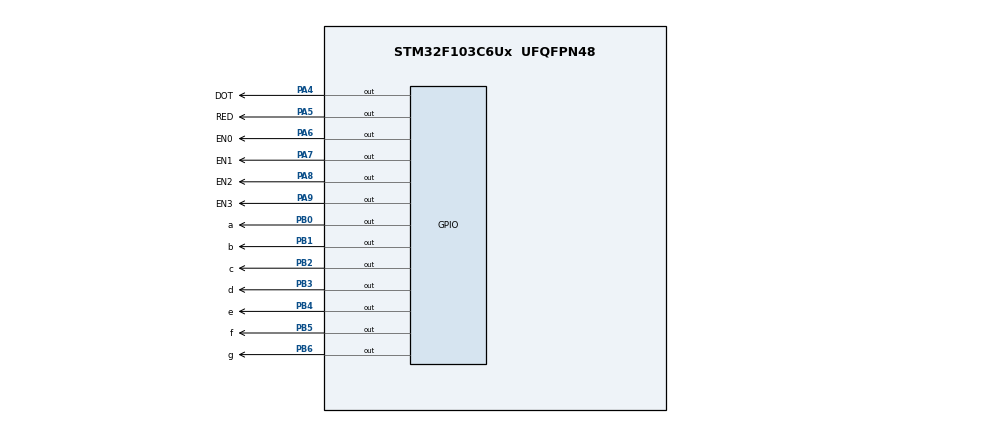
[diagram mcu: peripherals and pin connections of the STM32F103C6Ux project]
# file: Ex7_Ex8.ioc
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Mcu.Family=STM32F1
Mcu.Name=STM32F103C6Ux
Mcu.Package=UFQFPN48
NVIC.PriorityGroup=NVIC_PRIORITYGROUP_4
NVIC.TIM2_IRQn=true\:0\:0\:false\:false\:true\:true\:true
PA4.GPIO_Label=DOT
PA4.Signal=GPIO_Output
PA5.GPIO_Label=RED
PA5.Signal=GPIO_Output
PA6.GPIO_Label=EN0
PA6.Signal=GPIO_Output
PA7.GPIO_Label=EN1
PA7.Signal=GPIO_Output
PA8.GPIO_Label=EN2
PA8.Signal=GPIO_Output
PA9.GPIO_Label=EN3
PA9.Signal=GPIO_Output
PB0.GPIO_Label=a
PB0.Signal=GPIO_Output
PB1.GPIO_Label=b
PB1.Signal=GPIO_Output
PB2.GPIO_Label=c
PB2.Signal=GPIO_Output
PB3.GPIO_Label=d
PB3.Signal=GPIO_Output
PB4.GPIO_Label=e
PB4.Signal=GPIO_Output
PB5.GPIO_Label=f
PB5.Signal=GPIO_Output
PB6.GPIO_Label=g
PB6.Signal=GPIO_Output
ProjectManager.HeapSize=0x200
ProjectManager.StackSize=0x400
ProjectManager.TargetToolchain=STM32CubeIDE
RCC.APB1Freq_Value=8000000
RCC.APB2Freq_Value=8000000
TIM2.Period=9
TIM2.Prescaler=7999
VP_SYS_VS_ND.Mode=No_Debug
VP_TIM2_VS_ClockSourceINT.Mode=Internal
board=custom

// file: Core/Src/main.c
/* USER CODE BEGIN Header */
/**
  ******************************************************************************
  * @file           : main.c
  * @brief          : Main program body
  ******************************************************************************
  * @attention
  *
  * <h2><center>&copy; Copyright (c) 2023 STMicroelectronics.
  * All rights reserved.</center></h2>
  *
  * This software component is licensed by ST under BSD 3-Clause license,
  * the "License"; You may not use this file except in compliance with the
  * License. You may obtain a copy of the License at:
  *                        opensource.org/licenses/BSD-3-Clause
  *
  ******************************************************************************
  */
/* USER CODE END Header */
#include "main.h"

/* USER CODE BEGIN Includes */
#include "timer.h"
/* USER CODE END Includes */

TIM_HandleTypeDef htim2;

/* USER CODE BEGIN PV */
int hour = 15, minute = 8, second = 50;
/* USER CODE END PV */

void SystemClock_Config(void);
static void MX_GPIO_Init(void);
static void MX_TIM2_Init(void);

/* USER CODE BEGIN 0 */
void display7SEG(int num){
	int a=0, b=0, c=0, d=0, e=0, f=0, g=0;
	switch(num){
	case 0:
		a = 0; b = 0; c = 0; d = 0; e = 0; f = 0; g = 1;
		break;
	case 1:
		a = 1; b = 0; c = 0; d = 1; e = 1; f = 1; g = 1;
		break;
	case 2:
		a = 0; b = 0; c = 1; d = 0; e = 0; f = 1; g = 0;
		break;
	case 3:
		a = 0; b = 0; c = 0; d = 0; e = 1; f = 1; g = 0;
		break;
	case 4:
		a = 1; b = 0; c = 0; d = 1; e = 1; f = 0; g = 0;
		break;
	case 5:
		a = 0; b = 1; c = 0; d = 0; e = 1; f = 0; g = 0;
		break;
	case 6:
		a = 0; b = 1; c = 0; d = 0; e = 0; f = 0; g = 0;
		break;
	case 7:
		a = 0; b = 0; c = 0; d = 1; e = 1; f = 1; g = 1;
		break;
	case 8:
		a = 0; b = 0; c = 0; d = 0; e = 0; f = 0; g = 0;
		break;
	case 9:
		a = 0; b = 0; c = 0; d = 0; e = 1; f = 0; g = 0;
		break;
	default:
		a = 1; b = 1; c = 1; d = 1; e = 1; f = 1; g = 0;
		break;
	}
	HAL_GPIO_WritePin(a_GPIO_Port, a_Pin, a);
	HAL_GPIO_WritePin(b_GPIO_Port, b_Pin, b);
	HAL_GPIO_WritePin(c_GPIO_Port, c_Pin, c);
	HAL_GPIO_WritePin(d_GPIO_Port, d_Pin, d);
	HAL_GPIO_WritePin(e_GPIO_Port, e_Pin, e);
	HAL_GPIO_WritePin(f_GPIO_Port, f_Pin, f);
	HAL_GPIO_WritePin(g_GPIO_Port, g_Pin, g);
}
int index_led = 0;
int led_buffer[4];
void updateClockBuffer(){
	led_buffer[0] = hour/10;
	led_buffer[1] = hour%10;
	led_buffer[2] = minute/10;
	led_buffer[3] = minute%10;
}
void update7SEG(int index){
    switch (index){
	case 0:
		HAL_GPIO_WritePin(EN0_GPIO_Port, EN0_Pin, 0);
		HAL_GPIO_WritePin(EN1_GPIO_Port, EN1_Pin, 1);
		HAL_GPIO_WritePin(EN2_GPIO_Port, EN2_Pin, 1);
		HAL_GPIO_WritePin(EN3_GPIO_Port, EN3_Pin, 1);
		display7SEG(led_buffer[0]);
		break;
	case 1:
		HAL_GPIO_WritePin(EN0_GPIO_Port, EN0_Pin, 1);
		HAL_GPIO_WritePin(EN1_GPIO_Port, EN1_Pin, 0);
		HAL_GPIO_WritePin(EN2_GPIO_Port, EN2_Pin, 1);
		HAL_GPIO_WritePin(EN3_GPIO_Port, EN3_Pin, 1);
		display7SEG(led_buffer[1]);
		break;
	case 2:
		HAL_GPIO_WritePin(EN0_GPIO_Port, EN0_Pin, 1);
		HAL_GPIO_WritePin(EN1_GPIO_Port, EN1_Pin, 1);
		HAL_GPIO_WritePin(EN2_GPIO_Port, EN2_Pin, 0);
		HAL_GPIO_WritePin(EN3_GPIO_Port, EN3_Pin, 1);
		display7SEG(led_buffer[2]);
		break;
	case 3:
		HAL_GPIO_WritePin(EN0_GPIO_Port, EN0_Pin, 1);
		HAL_GPIO_WritePin(EN1_GPIO_Port, EN1_Pin, 1);
		HAL_GPIO_WritePin(EN2_GPIO_Port, EN2_Pin, 1);
		HAL_GPIO_WritePin(EN3_GPIO_Port, EN3_Pin, 0);
		display7SEG(led_buffer[3]);
		break;
	default:
		break;
    }
}
/* USER CODE END 0 */

int main(void)
{

  /* MCU Configuration--------------------------------------------------------*/

  /* Reset of all peripherals, Initializes the Flash interface and the Systick. */
  HAL_Init();

  /* Configure the system clock */
  SystemClock_Config();

  /* Initialize all configured peripherals */
  MX_GPIO_Init();
  MX_TIM2_Init();
  /* USER CODE BEGIN 2 */
  HAL_TIM_Base_Start_IT(&htim2);
  /* USER CODE END 2 */

  /* Infinite loop */
  /* USER CODE BEGIN WHILE */
   HAL_GPIO_WritePin(RED_GPIO_Port, RED_Pin, 1);
   HAL_GPIO_WritePin(DOT_GPIO_Port, DOT_Pin, 1);
   setTimer1(100);
   setTimer2(50);
  while (1)
  {
	  if(timer1_flag==1){
		  HAL_GPIO_TogglePin(RED_GPIO_Port, RED_Pin);
		  HAL_GPIO_TogglePin(DOT_GPIO_Port, DOT_Pin);
		  second++;
		  if(second>=60){
			  second=0;
			  minute++;
		  }
		  if(minute>=60){
			  minute=0;
			  hour++;
		  }
		  if(hour>=24){
			  hour=0;
		  }
		  setTimer1(100);
	  }
	  if(timer2_flag==1){
		  update7SEG(index_led++);
		  if(index_led>=4) index_led=0;
		  setTimer2(50);
	  }
	  updateClockBuffer();
    /* USER CODE END WHILE */

  }
}

void SystemClock_Config(void)
{
  RCC_OscInitTypeDef RCC_OscInitStruct = {0};
  RCC_ClkInitTypeDef RCC_ClkInitStruct = {0};

  /** Initializes the RCC Oscillators according to the specified parameters
  * in the RCC_OscInitTypeDef structure.
  */
  RCC_OscInitStruct.OscillatorType = RCC_OSCILLATORTYPE_HSI;
  RCC_OscInitStruct.HSIState = RCC_HSI_ON;
  RCC_OscInitStruct.HSICalibrationValue = RCC_HSICALIBRATION_DEFAULT;
  RCC_OscInitStruct.PLL.PLLState = RCC_PLL_NONE;
  if (HAL_RCC_OscConfig(&RCC_OscInitStruct) != HAL_OK)
  {
    Error_Handler();
  }
  /** Initializes the CPU, AHB and APB buses clocks
  */
  RCC_ClkInitStruct.ClockType = RCC_CLOCKTYPE_HCLK|RCC_CLOCKTYPE_SYSCLK
                              |RCC_CLOCKTYPE_PCLK1|RCC_CLOCKTYPE_PCLK2;
  RCC_ClkInitStruct.SYSCLKSource = RCC_SYSCLKSOURCE_HSI;
  RCC_ClkInitStruct.AHBCLKDivider = RCC_SYSCLK_DIV1;
  RCC_ClkInitStruct.APB1CLKDivider = RCC_HCLK_DIV1;
  RCC_ClkInitStruct.APB2CLKDivider = RCC_HCLK_DIV1;

  if (HAL_RCC_ClockConfig(&RCC_ClkInitStruct, FLASH_LATENCY_0) != HAL_OK)
  {
    Error_Handler();
  }
}

static void MX_TIM2_Init(void)
{

  TIM_ClockConfigTypeDef sClockSourceConfig = {0};
  TIM_MasterConfigTypeDef sMasterConfig = {0};

  htim2.Instance = TIM2;
  htim2.Init.Prescaler = 7999;
  htim2.Init.CounterMode = TIM_COUNTERMODE_UP;
  htim2.Init.Period = 9;
  htim2.Init.ClockDivision = TIM_CLOCKDIVISION_DIV1;
  htim2.Init.AutoReloadPreload = TIM_AUTORELOAD_PRELOAD_DISABLE;
  if (HAL_TIM_Base_Init(&htim2) != HAL_OK)
  {
    Error_Handler();
  }
  sClockSourceConfig.ClockSource = TIM_CLOCKSOURCE_INTERNAL;
  if (HAL_TIM_ConfigClockSource(&htim2, &sClockSourceConfig) != HAL_OK)
  {
    Error_Handler();
  }
  sMasterConfig.MasterOutputTrigger = TIM_TRGO_RESET;
  sMasterConfig.MasterSlaveMode = TIM_MASTERSLAVEMODE_DISABLE;
  if (HAL_TIMEx_MasterConfigSynchronization(&htim2, &sMasterConfig) != HAL_OK)
  {
    Error_Handler();
  }

}

static void MX_GPIO_Init(void)
{
  GPIO_InitTypeDef GPIO_InitStruct = {0};

  /* GPIO Ports Clock Enable */
  __HAL_RCC_GPIOA_CLK_ENABLE();
  __HAL_RCC_GPIOB_CLK_ENABLE();

  /*Configure GPIO pin Output Level */
  HAL_GPIO_WritePin(GPIOA, DOT_Pin|RED_Pin|EN0_Pin|EN1_Pin
                          |EN2_Pin|EN3_Pin, GPIO_PIN_RESET);

  /*Configure GPIO pin Output Level */
  HAL_GPIO_WritePin(GPIOB, a_Pin|b_Pin|c_Pin|d_Pin
                          |e_Pin|f_Pin|g_Pin, GPIO_PIN_RESET);

  /*Configure GPIO pins : DOT_Pin RED_Pin EN0_Pin EN1_Pin
                           EN2_Pin EN3_Pin */
  GPIO_InitStruct.Pin = DOT_Pin|RED_Pin|EN0_Pin|EN1_Pin
                          |EN2_Pin|EN3_Pin;
  GPIO_InitStruct.Mode = GPIO_MODE_OUTPUT_PP;
  GPIO_InitStruct.Pull = GPIO_NOPULL;
  GPIO_InitStruct.Speed = GPIO_SPEED_FREQ_LOW;
  HAL_GPIO_Init(GPIOA, &GPIO_InitStruct);

  /*Configure GPIO pins : a_Pin b_Pin c_Pin d_Pin
                           e_Pin f_Pin g_Pin */
  GPIO_InitStruct.Pin = a_Pin|b_Pin|c_Pin|d_Pin
                          |e_Pin|f_Pin|g_Pin;
  GPIO_InitStruct.Mode = GPIO_MODE_OUTPUT_PP;
  GPIO_InitStruct.Pull = GPIO_NOPULL;
  GPIO_InitStruct.Speed = GPIO_SPEED_FREQ_LOW;
  HAL_GPIO_Init(GPIOB, &GPIO_InitStruct);

}

/* USER CODE BEGIN 4 */
void HAL_TIM_PeriodElapsedCallback ( TIM_HandleTypeDef * htim ){
	timerRun();
}
/* USER CODE END 4 */

void Error_Handler(void)
{
  __disable_irq();
  while (1)
  {
  }
}

/************************ (C) COPYRIGHT STMicroelectronics *****END OF FILE****/
